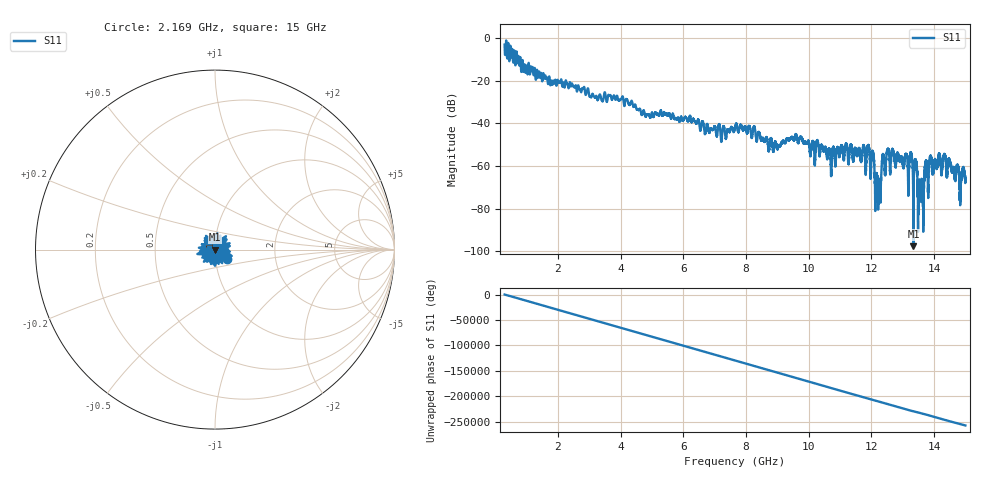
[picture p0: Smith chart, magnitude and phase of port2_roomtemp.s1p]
# GHZ S RI R 50.0
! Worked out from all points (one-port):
!   12801 points, 300 MHz to 15 GHz, reference 50 ohm
!   lowest |S11| = -97.6 dB at 13.34 GHz (marker M1), VSWR 1.00, Z = 50 - j0.000975 ohm
!   |S11| at or under -10 dB: 624.8 MHz to 662.4 MHz (37.62 MHz wide, 5.85 % of centre); 748.4 MHz to 790.8 MHz (42.39 MHz wide, 5.51 % of centre); 805.6 MHz to end of sweep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
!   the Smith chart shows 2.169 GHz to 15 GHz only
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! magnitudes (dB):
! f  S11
! 300 MHz  -3.1
! 966.1 MHz  -16.2
! 2.138 GHz  -22.4
! 3.222 GHz  -27.1
! 3.975 GHz  -29.1
! 4.839 GHz  -35.9
! 5.812 GHz  -38.0
! 7.398 GHz  -43.5
! 7.65 GHz  -41.7
! 8.255 GHz  -41.5
! 8.927 GHz  -48.9
! 9.488 GHz  -47.0
! 10.47 GHz  -52.5
! 10.67 GHz  -52.4
! 11.32 GHz  -50.9
! 11.9 GHz  -50.5
! 12.04 GHz  -53.5
! 12.19 GHz  -68.8
! 12.26 GHz  -68.6
! 12.52 GHz  -52.4
! 13.16 GHz  -59.7
! 13.34 GHz  -97.6
! 13.6 GHz  -66.0
! 13.75 GHz  -57.5
! 14.12 GHz  -59.1
! 14.51 GHz  -58.0
! 14.83 GHz  -78.4
! 15 GHz  -66.7
